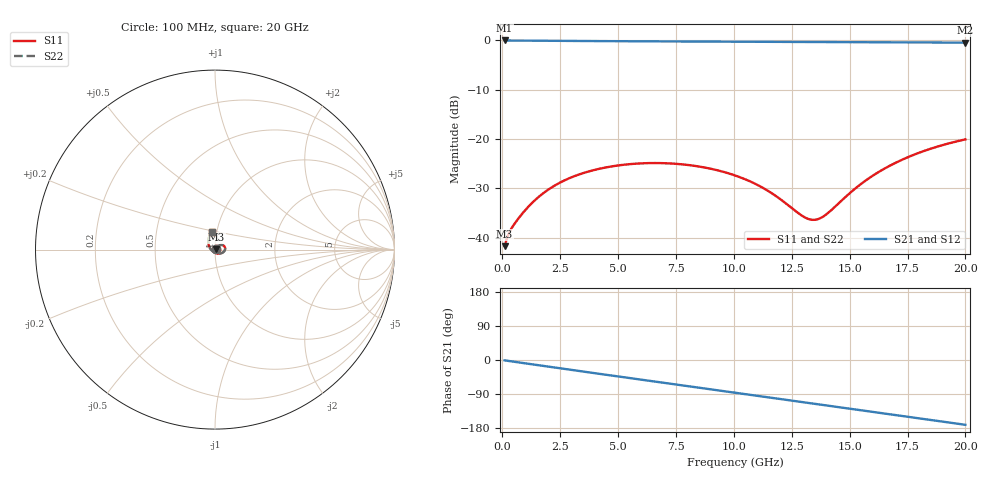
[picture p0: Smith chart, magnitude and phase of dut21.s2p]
! Touchstone file exported from HFSS 2026.1.0
!  File:  C:/ffzhzh/LocalFiles/Ansys_Project_Files/temp_train_TSV_RDL_21_1782962753_45308.aedt
!  Generated:  11:33:45 AM Jul  2, 2026
!  Design:  TSV_RDL
!  Project:  temp_train_TSV_RDL_21_1782962753_45308
! Variables:
!  h_bsmrdl = 5.84um
!  h_ox = 20um
!  h_rdl = 5um
!  h_sub = 59.51um
!  h_tmrdl = 4.4um
!  h_tsv = 59.51um
!  h_via = 3um
!  l_bsmrdl = 473.46um
!  l_sub = 2818.13um
!  l_tmrdl = 212.41um
!  m_sub = 200um
!  pitch = 36.47um
!  r_tsv = 14.81um
!  s_tmrdl = 10um
!  w_bsmrdl = 28.54um
!  w_sub = 500um
!  w_tmrdl = 20.83um
!  x_tsv_center1 = 222.825um
!  x_tsv_center2 = 724.825um
!  x_tsv_center3 = 958.065um
!  x_tsv_center4 = 1460.065um
!  x_tsv_center5 = 1693.305um
!  x_tsv_center6 = 2195.305um
# GHz S MA R 50.000000
! Terminal data exported
! Port[1] = TM_RDL1_1_T1
! Port[2] = TM_RDL5_1_T1
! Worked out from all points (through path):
!   200 points, 100 MHz to 20 GHz, reference 50 ohm
!   highest |S21| = -0.07 dB at 100 MHz (marker M1); lowest = -0.5 dB at 20 GHz (marker M2)
!   group delay of S21, straight-line fit = 23.7 ps
!   lowest |S11| = -41.7 dB at 100 MHz (marker M3), VSWR 1.02, Z = 50.8 + j0.264 ohm
!   |S11| at or under -10 dB: start of sweep to end of sweep
!   |S22| runs from -41.7 to -20.1 dB; largest |S21 - S12| = 2.9e-14
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0.1  0.008211 18.5  0.9923 -1.0  0.9923 -1.0  0.008211 18.5
! Gamma 0 0 0 0
! Port Impedance 50 0 50 0
0.2  0.009884 26.6  0.9913 -1.9  0.9913 -1.9  0.009884 26.6
0.3  0.01129 30.4  0.9905 -2.8  0.9905 -2.8  0.01129 30.4
0.5  0.01356 35.6  0.9896 -4.5  0.9896 -4.5  0.01356 35.6
0.9  0.01796 42.7  0.9885 -8.0  0.9885 -8.0  0.01796 42.7
1.4  0.02386 45.8  0.9871 -12.4  0.9871 -12.4  0.02386 45.8
2.3  0.03412 43.5  0.9841 -20.2  0.9841 -20.2  0.03412 43.5
3.5  0.04515 35.3  0.9798 -30.6  0.9798 -30.6  0.04515 35.3
5.1  0.05426 22.3  0.9748 -44.2  0.9748 -44.2  0.05427 22.2
6.8  0.05694 7.4  0.9706 -58.7  0.9706 -58.7  0.05696 7.3
8.5  0.05253 -8.9  0.9674 -73.2  0.9674 -73.2  0.05255 -8.9
10.1  0.0423 -26.9  0.9648 -86.8  0.9648 -86.8  0.04234 -26.9
11.3  0.03152 -44.8  0.963 -97.0  0.963 -97.0  0.03157 -44.9
11.9  0.02561 -57.5  0.962 -102.1  0.962 -102.1  0.02566 -57.6
12.9  0.01696 -93.0  0.9603 -110.6  0.9603 -110.6  0.01703 -93.0
13.4  0.01516 -121.9  0.9594 -114.9  0.9594 -114.9  0.01523 -121.7
13.6  0.01533 -134.5  0.959 -116.6  0.959 -116.6  0.0154 -134.3
13.9  0.01661 -152.4  0.9585 -119.2  0.9585 -119.2  0.01666 -152.2
15.5  0.03512 153.8  0.955 -132.8  0.955 -132.8  0.03511 153.9
16.7  0.05301 134.6  0.9519 -143.0  0.9519 -143.0  0.05299 134.7
18.2  0.07532 116.9  0.9479 -155.8  0.9479 -155.8  0.07529 117.0
20  0.09892 98.9  0.9429 -171.0  0.9429 -171.0  0.09887 98.9
